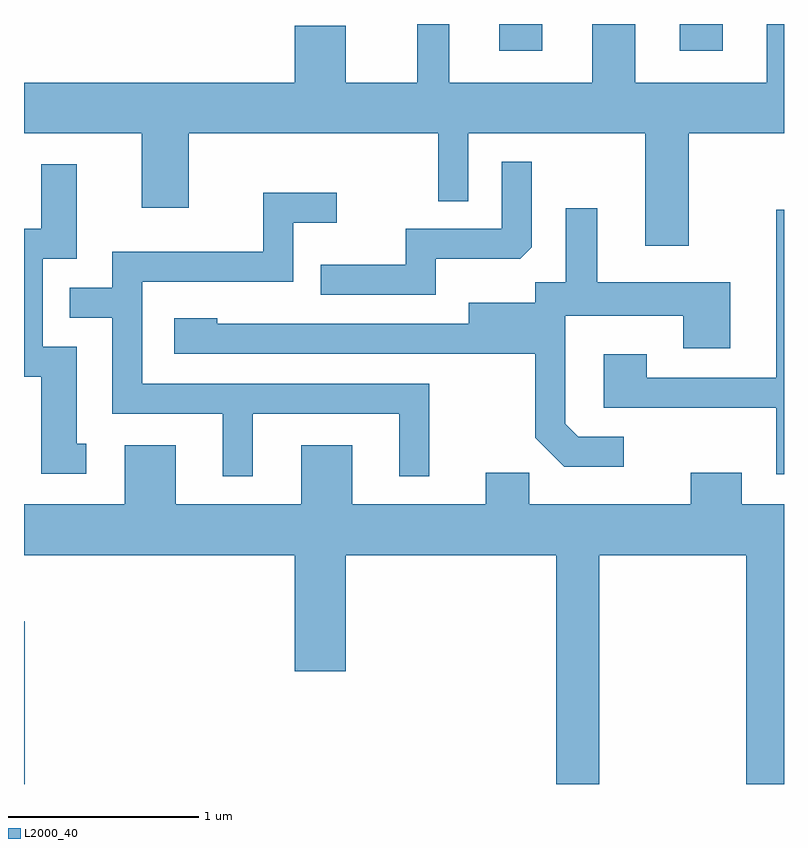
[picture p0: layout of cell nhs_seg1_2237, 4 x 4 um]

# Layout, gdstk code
import gdstk
lib = gdstk.Library(unit=1e-6, precision=1e-09)
def R(c, l, rs):  # rectangles x0, y0, x1, y1
    for r in rs: c.add(gdstk.rectangle(r[:2], r[2:], *l))
def P(c, l, *ps):  # polygons
    for p in ps: c.add(gdstk.Polygon(p, *l))
L2000_40 = (2000, 40)

nhs_seg1_2237 = lib.new_cell('nhs_seg1_2237')
R(nhs_seg1_2237, L2000_40, [(253.611,891.712,253.614,892.569), (256.111,895.571,256.339,895.712), (257.061,895.571,257.289,895.712)])
P(nhs_seg1_2237, L2000_40, [(257.109,895.136),(257.611,895.136),(257.611,895.712),(257.521,895.712),(257.521,895.404),(256.829,895.404),(256.829,895.712),(256.601,895.712),(256.601,895.404),(255.849,895.404),(255.849,895.712),(255.681,895.712),(255.681,895.404),(255.304,895.404),(255.304,895.704),(255.036,895.704),(255.036,895.404),(253.611,895.404),(253.611,895.136),(254.231,895.136),(254.231,894.746),(254.479,894.746),(254.479,895.136),(255.791,895.136),(255.791,894.778),(255.949,894.778),(255.949,895.136),(256.881,895.136),(256.881,894.546),(257.109,894.546)],
  [(255.779,894.476),(256.224,894.476),(256.284,894.537),(256.284,894.988),(256.126,894.988),(256.126,894.634),(255.621,894.634),(255.621,894.444),(255.173,894.444),(255.173,894.286),(255.779,894.286)],
  [(253.938,893.504),(253.889,893.504),(253.889,894.014),(253.709,894.014),(253.709,894.476),(253.889,894.476),(253.889,894.974),(253.701,894.974),(253.701,894.634),(253.611,894.634),(253.611,893.856),(253.701,893.856),(253.701,893.346),(253.938,893.346)],
  [(254.814,893.661),(255.586,893.661),(255.586,893.333),(255.744,893.333),(255.744,893.819),(254.234,893.819),(254.234,894.356),(255.029,894.356),(255.029,894.666),(255.258,894.666),(255.258,894.824),(254.871,894.824),(254.871,894.514),(254.076,894.514),(254.076,894.324),(253.853,894.324),(253.853,894.166),(254.076,894.166),(254.076,893.661),(254.656,893.661),(254.656,893.333),(254.814,893.333)],
  [(256.767,893.539),(256.527,893.539),(256.459,893.607),(256.459,894.176),(257.081,894.176),(257.081,894.006),(257.329,894.006),(257.329,894.354),(256.629,894.354),(256.629,894.743),(256.461,894.743),(256.461,894.354),(256.301,894.354),(256.301,894.244),(255.951,894.244),(255.951,894.134),(254.629,894.134),(254.629,894.164),(254.401,894.164),(254.401,893.976),(256.301,893.976),(256.301,893.534),(256.454,893.381),(256.767,893.381)],
  [(257.611,894.734),(257.571,894.734),(257.571,893.849),(256.889,893.849),(256.889,893.974),(256.661,893.974),(256.661,893.691),(257.571,893.691),(257.571,893.341),(257.611,893.341)],
  [(256.639,892.916),(257.411,892.916),(257.411,891.712),(257.611,891.712),(257.611,893.184),(257.389,893.184),(257.389,893.349),(257.121,893.349),(257.121,893.184),(256.269,893.184),(256.269,893.349),(256.041,893.349),(256.041,893.184),(255.339,893.184),(255.339,893.494),(255.071,893.494),(255.071,893.184),(254.409,893.184),(254.409,893.494),(254.141,893.494),(254.141,893.184),(253.611,893.184),(253.611,892.916),(255.036,892.916),(255.036,892.306),(255.304,892.306),(255.304,892.916),(256.411,892.916),(256.411,891.712),(256.639,891.712)])

lib.write_gds('nhs_seg1_2237.gds')
